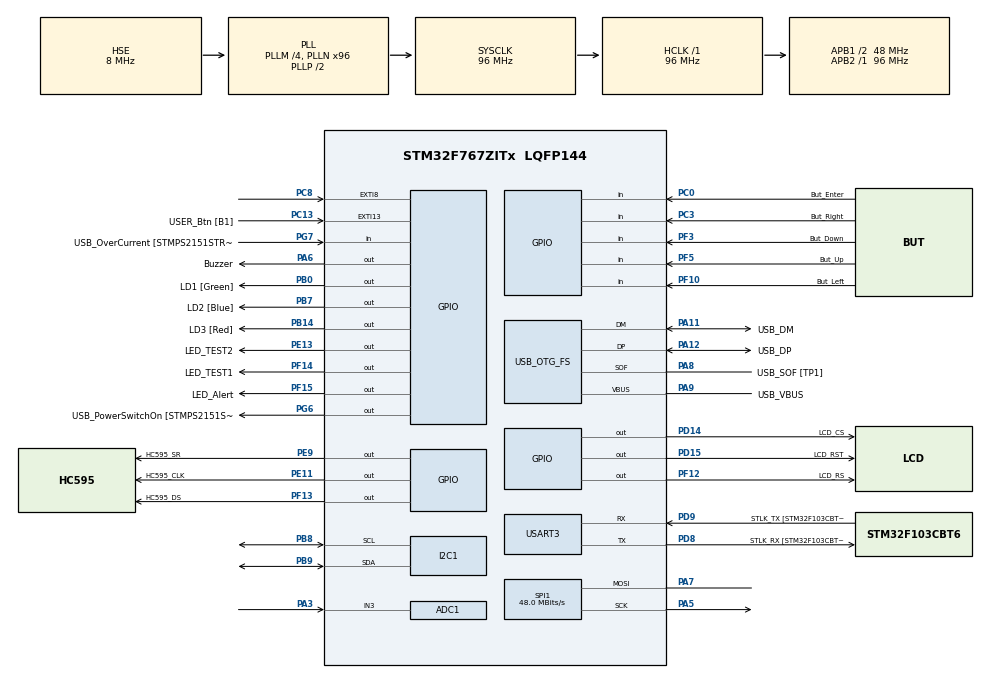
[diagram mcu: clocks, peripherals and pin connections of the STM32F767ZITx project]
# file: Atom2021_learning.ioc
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PF5.GPIO_PuPd=GPIO_NOPULL
SPI1.VirtualType=VM_MASTER
PB14.GPIO_Label=LD3 [Red]
PG6.GPIO_Label=USB_PowerSwitchOn [STMPS2151STR_EN]
PA14.GPIO_Label=TCK
PA6.GPIO_Label=Buzzer
PF10.GPIO_PuPd=GPIO_NOPULL
PB13.Signal=ETH_TXD1
PG13.Signal=ETH_TXD0
RCC.SYSCLKSource=RCC_SYSCLKSOURCE_PLLCLK
USART3.VirtualMode-Asynchronous=VM_ASYNC
SPI1.Direction=SPI_DIRECTION_1LINE
RCC.APB2TimFreq_Value=96000000
PH1/OSC_OUT.Signal=RCC_OSC_OUT
SPI1.CalculateBaudRate=48.0 MBits/s
PC3.Signal=GPIO_Input
PD8.Signal=USART3_TX
PF10.GPIO_Label=But_Left
PF12.GPIO_Label=LCD_RS
PC4.GPIO_Label=RMII_RXD0 [LAN8742A-CZ-TR_RXD0]
PE9.Signal=GPIO_Output
SPI1.DataSize=SPI_DATASIZE_8BIT
PA8.Signal=USB_OTG_FS_SOF
PF3.Signal=GPIO_Input
ADC1.SamplingTime-0\#ChannelRegularConversion=ADC_SAMPLETIME_3CYCLES
Mcu.Package=LQFP144
PB9.Signal=I2C1_SDA
PF3.GPIO_PuPd=GPIO_NOPULL
PA10.Signal=USB_OTG_FS_ID
PF14.Signal=GPIO_Output
RCC.APB1TimFreq_Value=96000000
PD15.Signal=GPIO_Output
PA5.Mode=Simplex_Bidirectional_Master
ADC1.Rank-0\#ChannelRegularConversion=1
PD9.GPIO_Label=STLK_TX [STM32F103CBT6_PA2]
PC13.Signal=GPXTI13
PA9.GPIO_Label=USB_VBUS
PA11.GPIO_Label=USB_DM
PF14.GPIO_Label=LED_TEST1
PC0.Signal=GPIO_Input
RCC.APB1CLKDivider=RCC_HCLK_DIV2
PF13.GPIO_Label=HC595_DS
PG13.GPIO_Label=RMII_TXD0 [LAN8742A-CZ-TR_TXD0]
PA8.GPIO_Label=USB_SOF [TP1]
PA9.Signal=USB_OTG_FS_VBUS
I2C1.Timing=0x20303E5D
PE9.GPIO_Label=HC595_SR
PD8.Mode=Asynchronous
PB14.Signal=GPIO_Output
PA5.Signal=SPI1_SCK
RCC.PRESCALERUSB=RCC_USBCLKSOURCE_PLL_DIV1_5
SPI1.Mode=SPI_MODE_MASTER
PG7.GPIO_Label=USB_OverCurrent [STMPS2151STR_FAULT]
PA1.GPIO_Label=RMII_REF_CLK [LAN8742A-CZ-TR_REFCLK0]
PF13.Signal=GPIO_Output
PF15.GPIO_ModeDefaultOutputPP=GPIO_MODE_OUTPUT_OD
PA13.Mode=Serial_Wire
ADC1.master=1
PE13.GPIO_Label=LED_TEST2
PA11.Signal=USB_OTG_FS_DM
ProjectManager.HeapSize=0x200
NVIC.PriorityGroup=NVIC_PRIORITYGROUP_4
PB8.Mode=I2C
PC3.GPIO_Label=But_Right
PC15/OSC32_OUT.Signal=RCC_OSC32_OUT
PA8.Mode=Activate_SOF_FS
PB0.Signal=GPIO_Output
PC1.Signal=ETH_MDC
Mcu.Family=STM32F7
RCC.CortexFreq_Value=96000000
PG6.Signal=GPIO_Output
PE11.GPIO_Label=HC595_CLK
RCC.SYSCLKSourceVirtual=RCC_SYSCLKSOURCE_PLLCLK
PC0.GPIO_Label=But_Enter
PA11.Mode=Device_Only
PB0.GPIO_Label=LD1 [Green]
PC14/OSC32_IN.Mode=LSE-External-Oscillator
PC13.GPIO_Label=USER_Btn [B1]
PB13.GPIO_Label=RMII_TXD1 [LAN8742A-CZ-TR_TXD1]
PD9.Mode=Asynchronous
PG11.Signal=ETH_TX_EN
ProjectManager.StackSize=0x400
PA12.Signal=USB_OTG_FS_DP
PH0/OSC_IN.Mode=HSE-External-Clock-Source
RCC.HCLKFreq_Value=96000000
SH.ADCx_IN3.0=ADC1_IN3,IN3
ADC1.Resolution=ADC_RESOLUTION_8B
PF12.Signal=GPIO_Output
RCC.AHBFreq_Value=96000000
ADC1.Channel-0\#ChannelRegularConversion=ADC_CHANNEL_3
RCC.HSE_VALUE=8000000
RCC.PLLMUL=RCC_PLL_MUL9
PE13.Signal=GPIO_Output
PA14.Mode=Serial_Wire
PA10.GPIO_Label=USB_ID
PB7.Signal=GPIO_Output
PH1/OSC_OUT.Mode=HSE-External-Clock-Source
PB7.GPIO_Label=LD2 [Blue]
PA6.Signal=GPIO_Output
PC14/OSC32_IN.Signal=RCC_OSC32_IN
PA2.GPIO_Label=RMII_MDIO [LAN8742A-CZ-TR_MDIO]
PF5.GPIO_Label=But_Up
USB_OTG_FS.VirtualMode=Device_Only
PF5.Signal=GPIO_Input
PG11.GPIO_Label=RMII_TX_EN [LAN8742A-CZ-TR_TXEN]
PC5.Signal=ETH_RXD1
PC0.GPIO_PuPd=GPIO_NOPULL
SPI1.BaudRatePrescaler=SPI_BAUDRATEPRESCALER_2
PF3.GPIO_Label=But_Down
PA3.Signal=ADCx_IN3
PB3.GPIO_Label=SWO
PD15.GPIO_Label=LCD_RST
PA7.Mode=Simplex_Bidirectional_Master
PG7.Signal=GPIO_Input
PC8.Signal=GPXTI8
PC4.Signal=ETH_RXD0
PD9.Signal=USART3_RX
PA12.GPIO_Label=USB_DP
PD8.GPIO_Label=STLK_RX [STM32F103CBT6_PA3]
PA13.Signal=SYS_JTMS-SWDIO
PA9.Mode=Activate_VBUS
ProjectManager.TargetToolchain=STM32CubeIDE
PB9.Mode=I2C
RCC.USBFreq_Value=48000000
PE11.Signal=GPIO_Output
PA1.Signal=ETH_REF_CLK
board=NUCLEO-F767ZI
RCC.VCOOutputFreq_Value=192000000
PH0/OSC_IN.Signal=RCC_OSC_IN
RCC.APB2Freq_Value=96000000
PF10.Signal=GPIO_Input
PC1.GPIO_Label=RMII_MDC [LAN8742A-CZ-TR_MDC]
PF15.GPIO_Label=LED_Alert
PF15.Signal=GPIO_Output
PD14.GPIO_Label=LCD_CS
Mcu.Name=STM32F767ZITx
PA2.Signal=ETH_MDIO
PA13.GPIO_Label=TMS
PD14.Signal=GPIO_Output
RCC.48MHZClocksFreq_Value=24000000
PB3.Signal=SYS_JTDO-SWO
RCC.SYSCLKFreq_VALUE=96000000
PA12.Mode=Device_Only
PC5.GPIO_Label=RMII_RXD1 [LAN8742A-CZ-TR_RXD1]
PC15/OSC32_OUT.Mode=LSE-External-Oscillator
PA14.Signal=SYS_JTCK-SWCLK
RCC.HSI_VALUE=16000000
PH0/OSC_IN.GPIO_Label=MCO [STM32F103CBT6_PA8]
RCC.PLLQ=4
ADC1.NbrOfConversionFlag=1
RCC.PLLM=4
RCC.PLLN=96
PB8.Signal=I2C1_SCL
RCC.APB1Freq_Value=48000000
PC3.GPIO_PuPd=GPIO_NOPULL
PA7.Signal=SPI1_MOSI

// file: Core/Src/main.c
/* USER CODE BEGIN Header */
/**
  ******************************************************************************
  * @file           : main.c
  * @brief          : Main program body
  ******************************************************************************
  * @attention
  *
  * <h2><center>&copy; Copyright (c) 2021 STMicroelectronics.
  * All rights reserved.</center></h2>
  *
  * This software component is licensed by ST under BSD 3-Clause license,
  * the "License"; You may not use this file except in compliance with the
  * License. You may obtain a copy of the License at:
  *                        opensource.org/licenses/BSD-3-Clause
  *
  ******************************************************************************
  */
/* USER CODE END Header */
#include "main.h"

/* USER CODE BEGIN Includes */
#include "st7735.h"
#include "fonts.h"
#include "testimg.h"
#include "Adafruit_AMG88xx.h"
#include "bilinear.h"
#include <stdio.h>
/* USER CODE END Includes */

/* USER CODE BEGIN PD */
#define RESIZE_X 112
#define RESIZE_Y 112
/* USER CODE END PD */

ADC_HandleTypeDef hadc1;

I2C_HandleTypeDef hi2c1;

SPI_HandleTypeDef hspi1;

UART_HandleTypeDef huart3;

PCD_HandleTypeDef hpcd_USB_OTG_FS;

void SystemClock_Config(void);
static void MX_GPIO_Init(void);
static void MX_USART3_UART_Init(void);
static void MX_USB_OTG_FS_PCD_Init(void);
static void MX_SPI1_Init(void);
static void MX_ADC1_Init(void);
static void MX_I2C1_Init(void);
/* USER CODE BEGIN PFP */
void HC595_send(uint8_t ld);
/* USER CODE END PFP */

/* USER CODE BEGIN 0 */
struct button but_a;
struct button but_b;
struct button but_c;
struct button but_d;
struct button but_ctr;

uint8_t screen = 0;
uint8_t menu = 0;
uint8_t test = 0;
uint8_t  but = 0;
uint8_t led = 0;
uint8_t  tLed = 0;
float pixels[64];
float tMin;
float tMax;
uint16_t kurX = 2;
uint16_t kurY = 2;
int16_t pixelsRaw[64];

char ch[64] = {0};
char menuEnter[1] = {'>'};

int16_t pixelsRawResize[RESIZE_X*RESIZE_Y];
int16_t pixelsTemp[160*32];
uint8_t pressBut[6][5]= {
		"     ",
		"Left ",
		"Up   ",
		"Dwon ",
		"Right",
		"Enter"
};

uint8_t lostBut = 0;

uint8_t tempKur[8][8] = {
		{63,62,61,60,59,58,57,56},
		{55,54,53,52,51,50,49,48},
		{47,46,45,44,43,42,41,40},
		{39,38,37,36,35,34,33,32},
		{31,30,29,28,27,26,25,24},
		{23,22,21,20,19,18,17,16},
		{15,14,13,12,11,10,9 ,8 },
		{7 ,6 ,5 ,4 ,3 ,2 ,1 ,0 }
};

uint8_t led_595[8] = {
						0b00000000,
						0b00000001,
						0b00000011,
						0b00000111,
						0b00001111,
						0b00011111,
						0b00111111,
						0b01111111
};

const uint16_t scaleColors[] = {0x480F,
                               0x400F,  0x4010,  0x3810,  0x3810,  0x3010,
                               0x2810,  0x2810,  0x2010,  0x2010,  0x1810,
                               0x1811,  0x1011,  0x0811,  0x0811,  0x0011,
                               0x0011,  0x0031,  0x0051,  0x0072,  0x00B2,
                               0x00D2,  0x00F2,  0x0132,  0x0152,  0x0192,
                               0x01B2,  0x01F3,  0x0213,  0x0253,  0x0273,
                               0x02B3,  0x02D3,  0x0313,  0x0333,  0x0373,
                               0x03B4,  0x03D4,  0x0414,  0x0454,  0x0474,
                               0x04B4,  0x04F4,  0x0534,  0x0554,  0x0574,
                               0x0573,  0x0573,  0x0572,  0x0571,  0x0591,
                               0x0590,  0x058F,  0x058E,  0x05AE,  0x05AD,
                               0x05AC,  0x05AB,  0x05CB,  0x05CA,  0x05C9,
                               0x05C8,  0x05E8,  0x05E7,  0x05E6,  0x05E5,
                               0x0604,  0x0604,  0x0603,  0x0602,  0x0621,
                               0x0620,  0x0620,  0x0E20,  0x0E40,  0x1640,
                               0x1E40,  0x2640,  0x2E60,  0x3660,  0x3E60,
                               0x4660,  0x4E60,  0x5680,  0x5E80,  0x6680,
                               0x6E80,  0x76A0,  0x7EA0,  0x86A0,  0x8EA0,
                               0x96C0,  0x9EC0,  0xA6C0,  0xAEC0,  0xB6E0,
                               0xBEE0,  0xC6E0,  0xCEE0,  0xD700,  0xDEE0,
                               0xDEA0,  0xDE80,  0xE640,  0xE600,  0xE5C0,
                               0xE580,  0xE540,  0xE500,  0xE4C0,  0xE480,
                               0xEC40,  0xEC00,  0xEBC0,  0xEB80,  0xEB40,
                               0xEB00,  0xEAC0,  0xEA80,  0xEA40,  0xF200,
                               0xF1C0,  0xF180,  0xF140,  0xF0E0,  0xF0A0,
                               0xF060, 0xF040, 0xF020, 0xF800,
                             };

const uint16_t camColors[] = {0x480F,
                              0x400F, 0x400F, 0x400F, 0x4010, 0x3810, 0x3810, 0x3810, 0x3810, 0x3010, 0x3010,
                              0x3010, 0x2810, 0x2810, 0x2810, 0x2810, 0x2010, 0x2010, 0x2010, 0x1810, 0x1810,
                              0x1811, 0x1811, 0x1011, 0x1011, 0x1011, 0x0811, 0x0811, 0x0811, 0x0011, 0x0011,
                              0x0011, 0x0011, 0x0011, 0x0031, 0x0031, 0x0051, 0x0072, 0x0072, 0x0092, 0x00B2,
                              0x00B2, 0x00D2, 0x00F2, 0x00F2, 0x0112, 0x0132, 0x0152, 0x0152, 0x0172, 0x0192,
                              0x0192, 0x01B2, 0x01D2, 0x01F3, 0x01F3, 0x0213, 0x0233, 0x0253, 0x0253, 0x0273,
                              0x0293, 0x02B3, 0x02D3, 0x02D3, 0x02F3, 0x0313, 0x0333, 0x0333, 0x0353, 0x0373,
                              0x0394, 0x03B4, 0x03D4, 0x03D4, 0x03F4, 0x0414, 0x0434, 0x0454, 0x0474, 0x0474,
                              0x0494, 0x04B4, 0x04D4, 0x04F4, 0x0514, 0x0534, 0x0534, 0x0554, 0x0554, 0x0574,
                              0x0574, 0x0573, 0x0573, 0x0573, 0x0572, 0x0572, 0x0572, 0x0571, 0x0591, 0x0591,
                              0x0590, 0x0590, 0x058F, 0x058F, 0x058F, 0x058E, 0x05AE, 0x05AE, 0x05AD, 0x05AD,
                              0x05AD, 0x05AC, 0x05AC, 0x05AB, 0x05CB, 0x05CB, 0x05CA, 0x05CA, 0x05CA, 0x05C9,
                              0x05C9, 0x05C8, 0x05E8, 0x05E8, 0x05E7, 0x05E7, 0x05E6, 0x05E6, 0x05E6, 0x05E5,
                              0x05E5, 0x0604, 0x0604, 0x0604, 0x0603, 0x0603, 0x0602, 0x0602, 0x0601, 0x0621,
                              0x0621, 0x0620, 0x0620, 0x0620, 0x0620, 0x0E20, 0x0E20, 0x0E40, 0x1640, 0x1640,
                              0x1E40, 0x1E40, 0x2640, 0x2640, 0x2E40, 0x2E60, 0x3660, 0x3660, 0x3E60, 0x3E60,
                              0x3E60, 0x4660, 0x4660, 0x4E60, 0x4E80, 0x5680, 0x5680, 0x5E80, 0x5E80, 0x6680,
                              0x6680, 0x6E80, 0x6EA0, 0x76A0, 0x76A0, 0x7EA0, 0x7EA0, 0x86A0, 0x86A0, 0x8EA0,
                              0x8EC0, 0x96C0, 0x96C0, 0x9EC0, 0x9EC0, 0xA6C0, 0xAEC0, 0xAEC0, 0xB6E0, 0xB6E0,
                              0xBEE0, 0xBEE0, 0xC6E0, 0xC6E0, 0xCEE0, 0xCEE0, 0xD6E0, 0xD700, 0xDF00, 0xDEE0,
                              0xDEC0, 0xDEA0, 0xDE80, 0xDE80, 0xE660, 0xE640, 0xE620, 0xE600, 0xE5E0, 0xE5C0,
                              0xE5A0, 0xE580, 0xE560, 0xE540, 0xE520, 0xE500, 0xE4E0, 0xE4C0, 0xE4A0, 0xE480,
                              0xE460, 0xEC40, 0xEC20, 0xEC00, 0xEBE0, 0xEBC0, 0xEBA0, 0xEB80, 0xEB60, 0xEB40,
                              0xEB20, 0xEB00, 0xEAE0, 0xEAC0, 0xEAA0, 0xEA80, 0xEA60, 0xEA40, 0xF220, 0xF200,
                              0xF1E0, 0xF1C0, 0xF1A0, 0xF180, 0xF160, 0xF140, 0xF100, 0xF0E0, 0xF0C0, 0xF0A0,
                              0xF080, 0xF060, 0xF040, 0xF020, 0xF800,
                             };
/* USER CODE END 0 */

int main(void)
{
  /* USER CODE BEGIN 1 */
int i;
  /* USER CODE END 1 */

  /* MCU Configuration--------------------------------------------------------*/

  /* Reset of all peripherals, Initializes the Flash interface and the Systick. */
  HAL_Init();

  /* Configure the system clock */
  SystemClock_Config();

  /* Initialize all configured peripherals */
  MX_GPIO_Init();
  MX_USART3_UART_Init();
  MX_USB_OTG_FS_PCD_Init();
  MX_SPI1_Init();
  MX_ADC1_Init();
  MX_I2C1_Init();
  /* USER CODE BEGIN 2 */
  // Инициализация тепловизора
  amg88xxInit();
  // Инициализация LCD
  ST7735_Init();

  if(HAL_GPIO_ReadPin(But_Enter_GPIO_Port, But_Enter_Pin) == 0) test = 1;

  if(screen == 0 && test == 0){
  HAL_GPIO_WritePin(LED_Alert_GPIO_Port, LED_Alert_Pin, GPIO_PIN_SET);
  HAL_GPIO_WritePin(LED_TEST1_GPIO_Port, LED_TEST1_Pin, GPIO_PIN_RESET);
  HAL_GPIO_WritePin(LED_TEST2_GPIO_Port, LED_TEST2_Pin, GPIO_PIN_RESET);
  }
 // HAL_GPIO_WritePin(Buzzer_GPIO_Port, Buzzer_Pin, GPIO_PIN_SET);
 // HAL_Delay(5);
 // HAL_GPIO_WritePin(Buzzer_GPIO_Port, Buzzer_Pin, GPIO_PIN_RESET);
  //ST7735_Unselect();

  // Вывод стартового изображения
  ST7735_FillScreen(ST7735_WHITE);
  ST7735_DrawImage(0, 19, 128, 116, (uint16_t*)lcd_image_atom);
  HAL_Delay(1500);

  ST7735_DrawImage(0, 17, 128, 128, (uint16_t*)lcd_image_electronica);
  HAL_Delay(1500);

  ST7735_FillScreen(ST7735_BLACK);

  /* USER CODE END 2 */

  /* Infinite loop */
  /* USER CODE BEGIN WHILE */
  while (1)
  {

	  if(screen == 0 && test == 0){
	  // Считывание массива тепловизора
	  	readPixelsRaw(pixelsRaw);
	  // Зеркалируем массив для дисплея
		uint8_t revers;
		for(uint8_t f = 0; f < 32; f++){
			revers = pixelsRaw[f];
			pixelsRaw[f] = pixelsRaw[63-f];
			pixelsRaw[63-f] = revers;
		}

		for( i = 0; i<64; i++)
			pixelsRaw[i] = (pixelsRaw[i]-80)<<2;
		// Преобразуем значения тепловизора из 8x8 в 128x128
		resizeBilinearGrey(pixelsRaw, pixelsRawResize, 8, 8, RESIZE_X, RESIZE_Y);

		for( i = 0; i< RESIZE_X*RESIZE_Y; i++){
			if(pixelsRawResize[i] < 0)
				pixelsRawResize[i] = 0;
			if(pixelsRawResize[i] > 255)
				pixelsRawResize[i] = 255;

			pixelsRawResize[i] = camColors[pixelsRawResize[i]];
		}

		  // Вывод цветовой шкалы
		for(int i = 0; i < 112; i++){
		  ST7735_FillRectangle(114, i, 14, 1, scaleColors[i]);
		  ST7735_DrawPixel(112, i, ST7735_WHITE);
		  ST7735_DrawPixel(113, i, ST7735_WHITE);
		}
		ST7735_DrawImage(0, 0, RESIZE_X, RESIZE_Y, (uint16_t*)pixelsRawResize);

		for(uint8_t i = 0; i<= 128; i++){
			ST7735_DrawPixel(i, 112, ST7735_WHITE);
		}

		readPixels(pixels,64);

		tMax = pixels[0];
		tMin = pixels[0];

		for(uint8_t i = 0; i < 64; i++){
			if(pixels[i] < tMin) tMin = pixels[i];
			if(pixels[i] > tMax) tMax = pixels[i];
		}

		tLed = ((uint8_t)tMax - (uint8_t)tMin);
		led = ((uint8_t)pixels[tempKur[kurY-1][kurX-1]] - (uint8_t)tMin) / (tLed/7);
		if(led <= 0)led =1;
		if(led >= 8)led =7;
		sprintf(ch, "%i\r\n", led);
		HAL_UART_Transmit(&huart3, ch, 9, 100);

		for(uint8_t i = 0; i<= 14; i++){
			ST7735_DrawPixel((kurX*14)-14+i, (kurY*14)-7, ST7735_WHITE);
			ST7735_DrawPixel((kurX*14)-7, (kurY*14)-14+i, ST7735_WHITE);
		}

		sprintf(ch, "%.1fC", pixels[tempKur[kurY-1][kurX-1]]);
		ST7735_WriteString(22, 118, ch, Font_16x26, ST7735_WHITE, ST7735_BLACK);

		for(uint8_t i = 0; i<= 128; i++){
			ST7735_DrawPixel(i, 144, ST7735_WHITE);
		}
		sprintf(ch, "Enter to Settings");
		ST7735_WriteString(2, 150, ch, Font_7x10, ST7735_WHITE, ST7735_BLACK);
//
//		sprintf(ch, "Min=%.1fC", tMin);
//		ST7735_WriteString(0, 150, ch, Font_7x10, ST7735_WHITE, ST7735_BLACK);
//		sprintf(ch, "Max=%.1fC", tMax);
//		ST7735_WriteString(0, 160, ch, Font_7x10, ST7735_WHITE, ST7735_BLACK);

		//HAL_UART_Transmit(&huart3, ch, sizeof(ch), 100);
		if(but != 0 ){
			if(but == 1){
				kurX--;
				if(kurX <= 1) kurX = 1;
				but = 0;
			}

			if(but == 2){
				kurY--;
				if(kurY <=1) kurY = 1;
				but = 0;
			}
			if(but == 3){
				kurY++;
				if(kurY >=8) kurY = 8;
				but = 0;
			}
			if(but == 4){
				kurX++;
				if(kurX >= 8) kurX = 8;
				but = 0;
			}
			if(but == 5){
				screen = 1;
				ST7735_FillScreen(ST7735_BLACK);
				but = 0;
			}
		}
	}

		if(test ==1 ){

			if(but != 0 ){
				lostBut = but;
				if(but == 1){
					//menu;
					but = 0;
				}

				if(but == 2){
					if(menu != 0){ menu--; }else{ menu = 4; }
					but = 0;
				}
				if(but == 3){
					if(menu != 4){ menu++; }else{ menu= 0; }
					but = 0;				}
				if(but == 4){
					//kurX++;
					//if(kurX >= 8) kurX = 8;
					but = 0;
				}
				if(but == 5){
					if(menu == 0){
						HAL_GPIO_TogglePin(LED_Alert_GPIO_Port, LED_Alert_Pin);
					}
					if(menu == 1){
						if(led == 0){ led = 7; }else{ led = 0;}
					}
					if(menu == 2){
						HAL_GPIO_TogglePin(Buzzer_GPIO_Port, Buzzer_Pin);
					}
					if(menu == 4){
						test = 0;
					}
					but = 0;
				}

			sprintf(ch, "Test system");
			ST7735_WriteString(2, 0, ch, Font_11x18, ST7735_WHITE, ST7735_BLACK);
			if(HAL_GPIO_ReadPin(LED_Alert_GPIO_Port, LED_Alert_Pin)){
				sprintf(ch, " Led Alert: OFF ");
			}else{
				sprintf(ch, " Led Alert: ON  ");
			}
			ST7735_WriteString(2, 20, ch, Font_7x10, ST7735_BLUE, ST7735_BLACK);
			if(led == 0){
				sprintf(ch, " Led sens: OFF ");
			}else if(led > 0 && led < 8){
				sprintf(ch, " Led sens: ON  ");
			}
			ST7735_WriteString(2, 30, ch, Font_7x10, ST7735_BLUE, ST7735_BLACK);
			if(HAL_GPIO_ReadPin(Buzzer_GPIO_Port, Buzzer_Pin)){
				sprintf(ch, " Buzzer: ON  ");
			}else{
				sprintf(ch, " Buzzer: OFF  ");
			}
			ST7735_WriteString(2, 40, ch, Font_7x10, ST7735_BLUE, ST7735_BLACK);

			sprintf(ch, " Button:%c%c%c%c%c", pressBut[lostBut][0],pressBut[lostBut][1],pressBut[lostBut][2],pressBut[lostBut][3],pressBut[lostBut][4]);
			ST7735_WriteString(2, 50, ch, Font_7x10, ST7735_BLUE, ST7735_BLACK);
			sprintf(ch, " EXIT TEST");
			ST7735_WriteString(2, 60, ch, Font_7x10, ST7735_BLUE, ST7735_BLACK);

			sprintf(ch, "menu - %i", menu);
			ST7735_WriteString(15, 80, ch, Font_7x10, ST7735_BLUE, ST7735_BLACK);

			if(menu == 0 ){
				ST7735_WriteString(2, 20, menuEnter, Font_7x10, ST7735_WHITE, ST7735_BLACK);
			}else if(menu == 1){
				ST7735_WriteString(2, 30, menuEnter, Font_7x10, ST7735_WHITE, ST7735_BLACK);
			}else if(menu == 2){
				ST7735_WriteString(2, 40, menuEnter, Font_7x10, ST7735_WHITE, ST7735_BLACK);
			}else if(menu == 3){
				ST7735_WriteString(2, 50, menuEnter, Font_7x10, ST7735_WHITE, ST7735_BLACK);
			}else if(menu == 4){
				ST7735_WriteString(2, 60, menuEnter, Font_7x10, ST7735_WHITE, ST7735_BLACK);
			}

			}
		}

		if(screen == 1){

			sprintf(ch, "Settings");
			ST7735_WriteString(20, 0, ch, Font_11x18, ST7735_YELLOW, ST7735_BLACK);

		}

		HC595_send(led);
		HAL_Delay(100);

	    HAL_GPIO_TogglePin(LD3_GPIO_Port, LD3_Pin);

    /* USER CODE END WHILE */

  }
}

void SystemClock_Config(void)
{
  RCC_OscInitTypeDef RCC_OscInitStruct = {0};
  RCC_ClkInitTypeDef RCC_ClkInitStruct = {0};
  RCC_PeriphCLKInitTypeDef PeriphClkInitStruct = {0};

  /** Configure LSE Drive Capability
  */
  HAL_PWR_EnableBkUpAccess();
  /** Configure the main internal regulator output voltage
  */
  __HAL_RCC_PWR_CLK_ENABLE();
  __HAL_PWR_VOLTAGESCALING_CONFIG(PWR_REGULATOR_VOLTAGE_SCALE3);
  /** Initializes the RCC Oscillators according to the specified parameters
  * in the RCC_OscInitTypeDef structure.
  */
  RCC_OscInitStruct.OscillatorType = RCC_OSCILLATORTYPE_HSE;
  RCC_OscInitStruct.HSEState = RCC_HSE_BYPASS;
  RCC_OscInitStruct.PLL.PLLState = RCC_PLL_ON;
  RCC_OscInitStruct.PLL.PLLSource = RCC_PLLSOURCE_HSE;
  RCC_OscInitStruct.PLL.PLLM = 4;
  RCC_OscInitStruct.PLL.PLLN = 96;
  RCC_OscInitStruct.PLL.PLLP = RCC_PLLP_DIV2;
  RCC_OscInitStruct.PLL.PLLQ = 4;
  if (HAL_RCC_OscConfig(&RCC_OscInitStruct) != HAL_OK)
  {
    Error_Handler();
  }
  /** Activate the Over-Drive mode
  */
  if (HAL_PWREx_EnableOverDrive() != HAL_OK)
  {
    Error_Handler();
  }
  /** Initializes the CPU, AHB and APB buses clocks
  */
  RCC_ClkInitStruct.ClockType = RCC_CLOCKTYPE_HCLK|RCC_CLOCKTYPE_SYSCLK
                              |RCC_CLOCKTYPE_PCLK1|RCC_CLOCKTYPE_PCLK2;
  RCC_ClkInitStruct.SYSCLKSource = RCC_SYSCLKSOURCE_PLLCLK;
  RCC_ClkInitStruct.AHBCLKDivider = RCC_SYSCLK_DIV1;
  RCC_ClkInitStruct.APB1CLKDivider = RCC_HCLK_DIV2;
  RCC_ClkInitStruct.APB2CLKDivider = RCC_HCLK_DIV1;

  if (HAL_RCC_ClockConfig(&RCC_ClkInitStruct, FLASH_LATENCY_3) != HAL_OK)
  {
    Error_Handler();
  }
  PeriphClkInitStruct.PeriphClockSelection = RCC_PERIPHCLK_USART3|RCC_PERIPHCLK_I2C1
                              |RCC_PERIPHCLK_CLK48;
  PeriphClkInitStruct.Usart3ClockSelection = RCC_USART3CLKSOURCE_PCLK1;
  PeriphClkInitStruct.I2c1ClockSelection = RCC_I2C1CLKSOURCE_PCLK1;
  PeriphClkInitStruct.Clk48ClockSelection = RCC_CLK48SOURCE_PLL;
  if (HAL_RCCEx_PeriphCLKConfig(&PeriphClkInitStruct) != HAL_OK)
  {
    Error_Handler();
  }
}

static void MX_ADC1_Init(void)
{

  ADC_ChannelConfTypeDef sConfig = {0};

  /** Configure the global features of the ADC (Clock, Resolution, Data Alignment and number of conversion)
  */
  hadc1.Instance = ADC1;
  hadc1.Init.ClockPrescaler = ADC_CLOCK_SYNC_PCLK_DIV4;
  hadc1.Init.Resolution = ADC_RESOLUTION_8B;
  hadc1.Init.ScanConvMode = ADC_SCAN_DISABLE;
  hadc1.Init.ContinuousConvMode = DISABLE;
  hadc1.Init.DiscontinuousConvMode = DISABLE;
  hadc1.Init.ExternalTrigConvEdge = ADC_EXTERNALTRIGCONVEDGE_NONE;
  hadc1.Init.ExternalTrigConv = ADC_SOFTWARE_START;
  hadc1.Init.DataAlign = ADC_DATAALIGN_RIGHT;
  hadc1.Init.NbrOfConversion = 1;
  hadc1.Init.DMAContinuousRequests = DISABLE;
  hadc1.Init.EOCSelection = ADC_EOC_SINGLE_CONV;
  if (HAL_ADC_Init(&hadc1) != HAL_OK)
  {
    Error_Handler();
  }
  /** Configure for the selected ADC regular channel its corresponding rank in the sequencer and its sample time.
  */
  sConfig.Channel = ADC_CHANNEL_3;
  sConfig.Rank = ADC_REGULAR_RANK_1;
  sConfig.SamplingTime = ADC_SAMPLETIME_3CYCLES;
  if (HAL_ADC_ConfigChannel(&hadc1, &sConfig) != HAL_OK)
  {
    Error_Handler();
  }

}

static void MX_I2C1_Init(void)
{

  hi2c1.Instance = I2C1;
  hi2c1.Init.Timing = 0x20303E5D;
  hi2c1.Init.OwnAddress1 = 0;
  hi2c1.Init.AddressingMode = I2C_ADDRESSINGMODE_7BIT;
  hi2c1.Init.DualAddressMode = I2C_DUALADDRESS_DISABLE;
  hi2c1.Init.OwnAddress2 = 0;
  hi2c1.Init.OwnAddress2Masks = I2C_OA2_NOMASK;
  hi2c1.Init.GeneralCallMode = I2C_GENERALCALL_DISABLE;
  hi2c1.Init.NoStretchMode = I2C_NOSTRETCH_DISABLE;
  if (HAL_I2C_Init(&hi2c1) != HAL_OK)
  {
    Error_Handler();
  }
  /** Configure Analogue filter
  */
  if (HAL_I2CEx_ConfigAnalogFilter(&hi2c1, I2C_ANALOGFILTER_ENABLE) != HAL_OK)
  {
    Error_Handler();
  }
  /** Configure Digital filter
  */
  if (HAL_I2CEx_ConfigDigitalFilter(&hi2c1, 0) != HAL_OK)
  {
    Error_Handler();
  }

}

static void MX_SPI1_Init(void)
{

  /* SPI1 parameter configuration*/
  hspi1.Instance = SPI1;
  hspi1.Init.Mode = SPI_MODE_MASTER;
  hspi1.Init.Direction = SPI_DIRECTION_1LINE;
  hspi1.Init.DataSize = SPI_DATASIZE_8BIT;
  hspi1.Init.CLKPolarity = SPI_POLARITY_LOW;
  hspi1.Init.CLKPhase = SPI_PHASE_1EDGE;
  hspi1.Init.NSS = SPI_NSS_SOFT;
  hspi1.Init.BaudRatePrescaler = SPI_BAUDRATEPRESCALER_2;
  hspi1.Init.FirstBit = SPI_FIRSTBIT_MSB;
  hspi1.Init.TIMode = SPI_TIMODE_DISABLE;
  hspi1.Init.CRCCalculation = SPI_CRCCALCULATION_DISABLE;
  hspi1.Init.CRCPolynomial = 7;
  hspi1.Init.CRCLength = SPI_CRC_LENGTH_DATASIZE;
  hspi1.Init.NSSPMode = SPI_NSS_PULSE_ENABLE;
  if (HAL_SPI_Init(&hspi1) != HAL_OK)
  {
    Error_Handler();
  }

}

static void MX_USART3_UART_Init(void)
{

  huart3.Instance = USART3;
  huart3.Init.BaudRate = 115200;
  huart3.Init.WordLength = UART_WORDLENGTH_8B;
  huart3.Init.StopBits = UART_STOPBITS_1;
  huart3.Init.Parity = UART_PARITY_NONE;
  huart3.Init.Mode = UART_MODE_TX_RX;
  huart3.Init.HwFlowCtl = UART_HWCONTROL_NONE;
  huart3.Init.OverSampling = UART_OVERSAMPLING_16;
  huart3.Init.OneBitSampling = UART_ONE_BIT_SAMPLE_DISABLE;
  huart3.AdvancedInit.AdvFeatureInit = UART_ADVFEATURE_NO_INIT;
  if (HAL_UART_Init(&huart3) != HAL_OK)
  {
    Error_Handler();
  }

}

static void MX_USB_OTG_FS_PCD_Init(void)
{

  hpcd_USB_OTG_FS.Instance = USB_OTG_FS;
  hpcd_USB_OTG_FS.Init.dev_endpoints = 6;
  hpcd_USB_OTG_FS.Init.speed = PCD_SPEED_FULL;
  hpcd_USB_OTG_FS.Init.dma_enable = DISABLE;
  hpcd_USB_OTG_FS.Init.phy_itface = PCD_PHY_EMBEDDED;
  hpcd_USB_OTG_FS.Init.Sof_enable = ENABLE;
  hpcd_USB_OTG_FS.Init.low_power_enable = DISABLE;
  hpcd_USB_OTG_FS.Init.lpm_enable = DISABLE;
  hpcd_USB_OTG_FS.Init.vbus_sensing_enable = ENABLE;
  hpcd_USB_OTG_FS.Init.use_dedicated_ep1 = DISABLE;
  if (HAL_PCD_Init(&hpcd_USB_OTG_FS) != HAL_OK)
  {
    Error_Handler();
  }

}

static void MX_GPIO_Init(void)
{
  GPIO_InitTypeDef GPIO_InitStruct = {0};

  /* GPIO Ports Clock Enable */
  __HAL_RCC_GPIOC_CLK_ENABLE();
  __HAL_RCC_GPIOF_CLK_ENABLE();
  __HAL_RCC_GPIOH_CLK_ENABLE();
  __HAL_RCC_GPIOA_CLK_ENABLE();
  __HAL_RCC_GPIOB_CLK_ENABLE();
  __HAL_RCC_GPIOE_CLK_ENABLE();
  __HAL_RCC_GPIOD_CLK_ENABLE();
  __HAL_RCC_GPIOG_CLK_ENABLE();

  /*Configure GPIO pin Output Level */
  HAL_GPIO_WritePin(Buzzer_GPIO_Port, Buzzer_Pin, GPIO_PIN_RESET);

  /*Configure GPIO pin Output Level */
  HAL_GPIO_WritePin(GPIOB, LD1_Pin|LD3_Pin|LD2_Pin, GPIO_PIN_RESET);

  /*Configure GPIO pin Output Level */
  HAL_GPIO_WritePin(GPIOF, LCD_RS_Pin|HC595_DS_Pin|LED_TEST1_Pin|LED_Alert_Pin, GPIO_PIN_RESET);

  /*Configure GPIO pin Output Level */
  HAL_GPIO_WritePin(GPIOE, HC595_SR_Pin|HC595_CLK_Pin|LED_TEST2_Pin, GPIO_PIN_RESET);

  /*Configure GPIO pin Output Level */
  HAL_GPIO_WritePin(GPIOD, LCD_CS_Pin|LCD_RST_Pin, GPIO_PIN_RESET);

  /*Configure GPIO pin Output Level */
  HAL_GPIO_WritePin(USB_PowerSwitchOn_GPIO_Port, USB_PowerSwitchOn_Pin, GPIO_PIN_RESET);

  /*Configure GPIO pins : USER_Btn_Pin PC8 */
  GPIO_InitStruct.Pin = USER_Btn_Pin|GPIO_PIN_8;
  GPIO_InitStruct.Mode = GPIO_MODE_IT_RISING;
  GPIO_InitStruct.Pull = GPIO_NOPULL;
  HAL_GPIO_Init(GPIOC, &GPIO_InitStruct);

  /*Configure GPIO pins : But_Down_Pin But_Up_Pin But_Left_Pin */
  GPIO_InitStruct.Pin = But_Down_Pin|But_Up_Pin|But_Left_Pin;
  GPIO_InitStruct.Mode = GPIO_MODE_INPUT;
  GPIO_InitStruct.Pull = GPIO_NOPULL;
  HAL_GPIO_Init(GPIOF, &GPIO_InitStruct);

  /*Configure GPIO pins : But_Enter_Pin But_Right_Pin */
  GPIO_InitStruct.Pin = But_Enter_Pin|But_Right_Pin;
  GPIO_InitStruct.Mode = GPIO_MODE_INPUT;
  GPIO_InitStruct.Pull = GPIO_NOPULL;
  HAL_GPIO_Init(GPIOC, &GPIO_InitStruct);

  /*Configure GPIO pins : RMII_MDC_Pin RMII_RXD0_Pin RMII_RXD1_Pin */
  GPIO_InitStruct.Pin = RMII_MDC_Pin|RMII_RXD0_Pin|RMII_RXD1_Pin;
  GPIO_InitStruct.Mode = GPIO_MODE_AF_PP;
  GPIO_InitStruct.Pull = GPIO_NOPULL;
  GPIO_InitStruct.Speed = GPIO_SPEED_FREQ_VERY_HIGH;
  GPIO_InitStruct.Alternate = GPIO_AF11_ETH;
  HAL_GPIO_Init(GPIOC, &GPIO_InitStruct);

  /*Configure GPIO pins : RMII_REF_CLK_Pin RMII_MDIO_Pin */
  GPIO_InitStruct.Pin = RMII_REF_CLK_Pin|RMII_MDIO_Pin;
  GPIO_InitStruct.Mode = GPIO_MODE_AF_PP;
  GPIO_InitStruct.Pull = GPIO_NOPULL;
  GPIO_InitStruct.Speed = GPIO_SPEED_FREQ_VERY_HIGH;
  GPIO_InitStruct.Alternate = GPIO_AF11_ETH;
  HAL_GPIO_Init(GPIOA, &GPIO_InitStruct);

  /*Configure GPIO pin : Buzzer_Pin */
  GPIO_InitStruct.Pin = Buzzer_Pin;
  GPIO_InitStruct.Mode = GPIO_MODE_OUTPUT_PP;
  GPIO_InitStruct.Pull = GPIO_NOPULL;
  GPIO_InitStruct.Speed = GPIO_SPEED_FREQ_LOW;
  HAL_GPIO_Init(Buzzer_GPIO_Port, &GPIO_InitStruct);

  /*Configure GPIO pins : LD1_Pin LD3_Pin LD2_Pin */
  GPIO_InitStruct.Pin = LD1_Pin|LD3_Pin|LD2_Pin;
  GPIO_InitStruct.Mode = GPIO_MODE_OUTPUT_PP;
  GPIO_InitStruct.Pull = GPIO_NOPULL;
  GPIO_InitStruct.Speed = GPIO_SPEED_FREQ_LOW;
  HAL_GPIO_Init(GPIOB, &GPIO_InitStruct);

  /*Configure GPIO pins : LCD_RS_Pin HC595_DS_Pin LED_TEST1_Pin */
  GPIO_InitStruct.Pin = LCD_RS_Pin|HC595_DS_Pin|LED_TEST1_Pin;
  GPIO_InitStruct.Mode = GPIO_MODE_OUTPUT_PP;
  GPIO_InitStruct.Pull = GPIO_NOPULL;
  GPIO_InitStruct.Speed = GPIO_SPEED_FREQ_LOW;
  HAL_GPIO_Init(GPIOF, &GPIO_InitStruct);

  /*Configure GPIO pin : LED_Alert_Pin */
  GPIO_InitStruct.Pin = LED_Alert_Pin;
  GPIO_InitStruct.Mode = GPIO_MODE_OUTPUT_OD;
  GPIO_InitStruct.Pull = GPIO_NOPULL;
  GPIO_InitStruct.Speed = GPIO_SPEED_FREQ_LOW;
  HAL_GPIO_Init(LED_Alert_GPIO_Port, &GPIO_InitStruct);

  /*Configure GPIO pins : HC595_SR_Pin HC595_CLK_Pin LED_TEST2_Pin */
  GPIO_InitStruct.Pin = HC595_SR_Pin|HC595_CLK_Pin|LED_TEST2_Pin;
  GPIO_InitStruct.Mode = GPIO_MODE_OUTPUT_PP;
  GPIO_InitStruct.Pull = GPIO_NOPULL;
  GPIO_InitStruct.Speed = GPIO_SPEED_FREQ_LOW;
  HAL_GPIO_Init(GPIOE, &GPIO_InitStruct);

  /*Configure GPIO pin : RMII_TXD1_Pin */
  GPIO_InitStruct.Pin = RMII_TXD1_Pin;
  GPIO_InitStruct.Mode = GPIO_MODE_AF_PP;
  GPIO_InitStruct.Pull = GPIO_NOPULL;
  GPIO_InitStruct.Speed = GPIO_SPEED_FREQ_VERY_HIGH;
  GPIO_InitStruct.Alternate = GPIO_AF11_ETH;
  HAL_GPIO_Init(RMII_TXD1_GPIO_Port, &GPIO_InitStruct);

  /*Configure GPIO pins : LCD_CS_Pin LCD_RST_Pin */
  GPIO_InitStruct.Pin = LCD_CS_Pin|LCD_RST_Pin;
  GPIO_InitStruct.Mode = GPIO_MODE_OUTPUT_PP;
  GPIO_InitStruct.Pull = GPIO_NOPULL;
  GPIO_InitStruct.Speed = GPIO_SPEED_FREQ_LOW;
  HAL_GPIO_Init(GPIOD, &GPIO_InitStruct);

  /*Configure GPIO pin : USB_PowerSwitchOn_Pin */
  GPIO_InitStruct.Pin = USB_PowerSwitchOn_Pin;
  GPIO_InitStruct.Mode = GPIO_MODE_OUTPUT_PP;
  GPIO_InitStruct.Pull = GPIO_NOPULL;
  GPIO_InitStruct.Speed = GPIO_SPEED_FREQ_LOW;
  HAL_GPIO_Init(USB_PowerSwitchOn_GPIO_Port, &GPIO_InitStruct);

  /*Configure GPIO pin : USB_OverCurrent_Pin */
  GPIO_InitStruct.Pin = USB_OverCurrent_Pin;
  GPIO_InitStruct.Mode = GPIO_MODE_INPUT;
  GPIO_InitStruct.Pull = GPIO_NOPULL;
  HAL_GPIO_Init(USB_OverCurrent_GPIO_Port, &GPIO_InitStruct);

  /*Configure GPIO pins : RMII_TX_EN_Pin RMII_TXD0_Pin */
  GPIO_InitStruct.Pin = RMII_TX_EN_Pin|RMII_TXD0_Pin;
  GPIO_InitStruct.Mode = GPIO_MODE_AF_PP;
  GPIO_InitStruct.Pull = GPIO_NOPULL;
  GPIO_InitStruct.Speed = GPIO_SPEED_FREQ_VERY_HIGH;
  GPIO_InitStruct.Alternate = GPIO_AF11_ETH;
  HAL_GPIO_Init(GPIOG, &GPIO_InitStruct);

}

/* USER CODE BEGIN 4 */
void HC595_send(uint8_t ld)
{
	uint8_t mask;
	for (mask=0x80; mask; mask = mask >> 1)
	{
		if (led_595[ld] & mask)
		{
			HAL_GPIO_WritePin(HC595_DS_GPIO_Port, HC595_DS_Pin, GPIO_PIN_SET);
		}
		else
		{
			HAL_GPIO_WritePin(HC595_DS_GPIO_Port, HC595_DS_Pin, GPIO_PIN_RESET);
		}

		HAL_GPIO_WritePin(HC595_CLK_GPIO_Port, HC595_CLK_Pin, GPIO_PIN_SET);
		//HAL_Delay(1);
		HAL_GPIO_WritePin(HC595_CLK_GPIO_Port, HC595_CLK_Pin, GPIO_PIN_RESET);
	}
		HAL_GPIO_WritePin(HC595_SR_GPIO_Port, HC595_SR_Pin, GPIO_PIN_SET);
		HAL_Delay(1);
		HAL_GPIO_WritePin(HC595_SR_GPIO_Port, HC595_SR_Pin, GPIO_PIN_RESET);
}
/* USER CODE END 4 */

void Error_Handler(void)
{
  __disable_irq();
  while (1)
  {
  }
}

/************************ (C) COPYRIGHT STMicroelectronics *****END OF FILE****/
